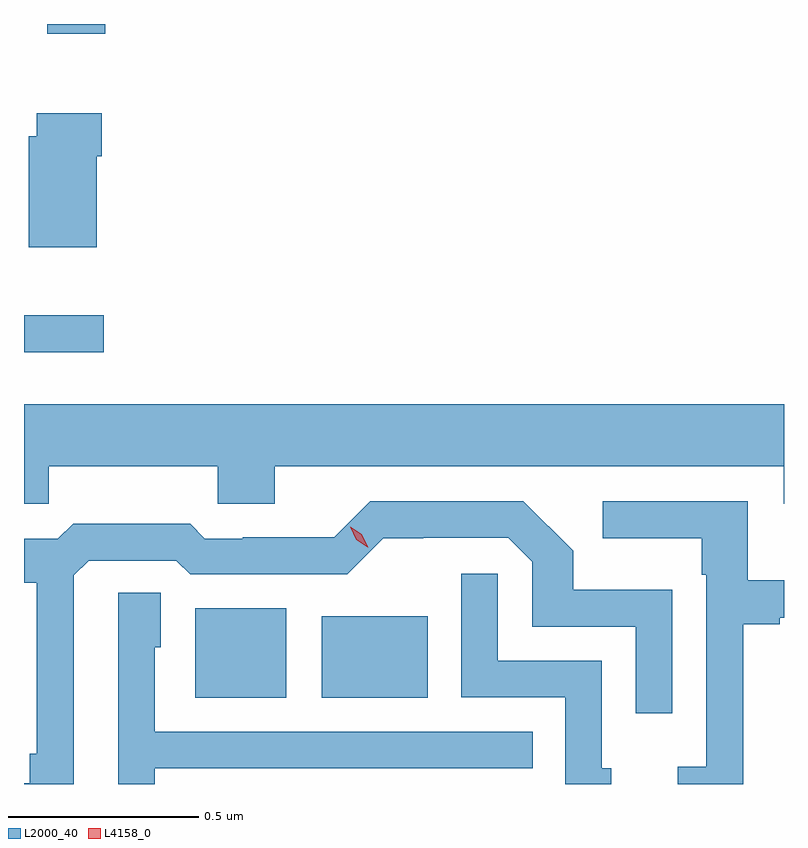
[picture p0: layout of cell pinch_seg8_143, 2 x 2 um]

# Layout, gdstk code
import gdstk
lib = gdstk.Library(unit=1e-6, precision=1e-09)
def R(c, l, rs):  # rectangles x0, y0, x1, y1
    for r in rs: c.add(gdstk.rectangle(r[:2], r[2:], *l))
def P(c, l, *ps):  # polygons
    for p in ps: c.add(gdstk.Polygon(p, *l))
L2000_40 = (2000, 40)
L4158_0 = (4158, 0)

pinch_seg8_143 = lib.new_cell('pinch_seg8_143')
R(pinch_seg8_143, L2000_40, [(766.937,1150.523,767.176,1150.759), (767.27,1150.523,767.548,1150.738), (766.486,1151.432,766.696,1151.529), (766.547,1152.27,766.7,1152.296)])
P(pinch_seg8_143, L2000_40, [(766.678,1151.948),(766.691,1151.948),(766.691,1152.061),(766.52,1152.061),(766.52,1152),(766.499,1152),(766.499,1151.708),(766.678,1151.708)],
  [(766.486,1151.034),(766.551,1151.034),(766.551,1151.132),(766.996,1151.132),(766.996,1151.034),(767.146,1151.034),(767.146,1151.132),(768.485,1151.132),(768.485,1151.033),(768.486,1151.033),(768.486,1151.296),(766.486,1151.296)],
  [(768.379,1150.716),(768.475,1150.716),(768.475,1150.734),(768.486,1150.734),(768.486,1150.832),(768.391,1150.832),(768.391,1151.04),(768.009,1151.04),(768.009,1150.943),(768.27,1150.943),(768.27,1150.847),(768.282,1150.847),(768.282,1150.342),(768.207,1150.342),(768.207,1150.296),(768.379,1150.296)],
  [(766.617,1150.845),(766.656,1150.884),(766.887,1150.884),(766.923,1150.848),(767.337,1150.848),(767.432,1150.943),(767.536,1150.943),(767.536,1150.944),(767.76,1150.944),(767.823,1150.881),(767.823,1150.71),(768.096,1150.71),(768.096,1150.482),(768.192,1150.482),(768.192,1150.807),(767.931,1150.807),(767.931,1150.91),(767.8,1151.04),(767.397,1151.04),(767.303,1150.946),(767.062,1150.946),(767.062,1150.941),(766.962,1150.941),(766.923,1150.981),(766.615,1150.981),(766.575,1150.941),(766.486,1150.941),(766.486,1150.826),(766.52,1150.826),(766.52,1150.375),(766.501,1150.375),(766.501,1150.298),(766.486,1150.298),(766.486,1150.296),(766.617,1150.296)],
  [(768.031,1150.338),(768.006,1150.338),(768.006,1150.62),(767.733,1150.62),(767.733,1150.849),(767.637,1150.849),(767.637,1150.524),(767.91,1150.524),(767.91,1150.296),(768.031,1150.296)],
  [(766.83,1150.337),(767.147,1150.337),(767.147,1150.338),(767.825,1150.338),(767.825,1150.434),(766.83,1150.434),(766.83,1150.656),(766.846,1150.656),(766.846,1150.799),(766.734,1150.799),(766.734,1150.296),(766.83,1150.296)])
P(pinch_seg8_143, L4158_0, [(767.391,1150.919),(767.36,1150.939),(767.344,1150.973),(767.344,1150.973),(767.344,1150.973),(767.375,1150.953),(767.392,1150.919),(767.392,1150.919)])

lib.write_gds('pinch_seg8_143.gds')
